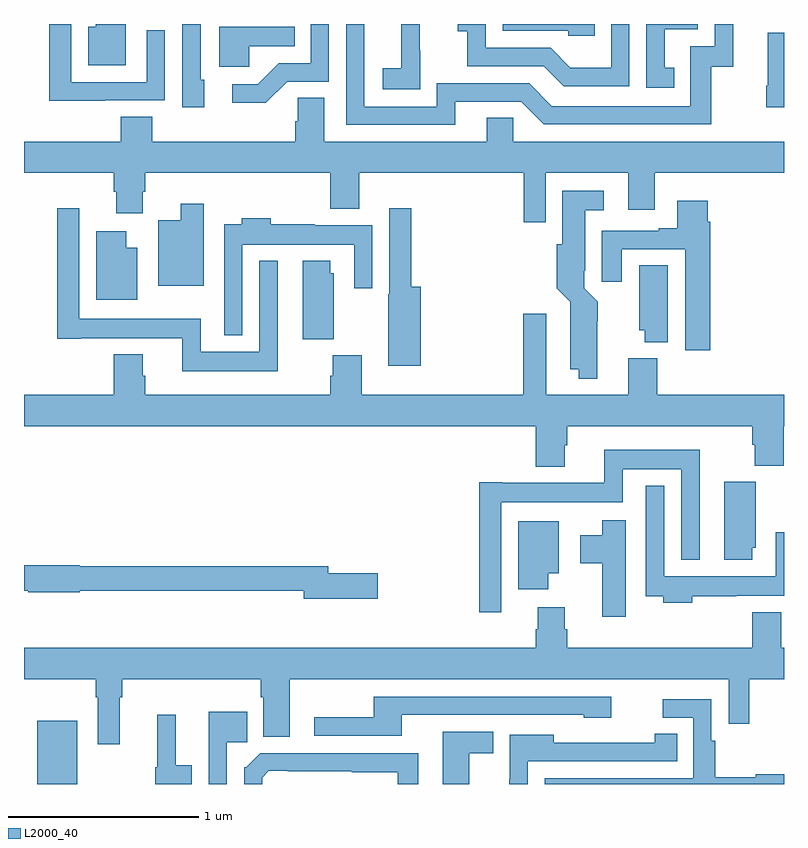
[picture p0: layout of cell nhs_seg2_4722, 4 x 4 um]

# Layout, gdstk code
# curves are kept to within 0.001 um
import gdstk
lib = gdstk.Library(unit=1e-6, precision=1e-09)
def R(c, l, rs):  # rectangles x0, y0, x1, y1
    for r in rs: c.add(gdstk.rectangle(r[:2], r[2:], *l))
def P(c, l, *ps):  # polygons
    for p in ps: c.add(gdstk.Polygon(p, *l))
L2000_40 = (2000, 40)

nhs_seg2_4722 = lib.new_cell('nhs_seg2_4722')
R(nhs_seg2_4722, L2000_40, [(369.071,597.8,369.28,598.132)])
P(nhs_seg2_4722, L2000_40, [(369.535,601.8),(369.377,601.8),(369.377,601.786),(369.338,601.786),(369.338,601.583),(369.535,601.583)],
  [(369.425,601.398),(369.741,601.398),(369.741,601.768),(369.645,601.768),(369.645,601.494),(369.249,601.494),(369.249,601.8),(369.133,601.8),(369.133,601.397),(369.425,601.397)],
  [(371.269,601.392),(371.616,601.392),(371.736,601.272),(372.616,601.272),(372.616,601.575),(372.734,601.575),(372.734,601.8),(372.636,601.8),(372.636,601.683),(372.507,601.683),(372.507,601.368),(371.778,601.368),(371.658,601.488),(371.172,601.488),(371.172,601.365),(370.791,601.365),(370.791,601.8),(370.695,601.8),(370.695,601.269),(371.269,601.269)],
  [(369.949,601.506),(369.93,601.506),(369.93,601.8),(369.834,601.8),(369.834,601.362),(369.949,601.362)],
  [(370.386,601.497),(370.605,601.497),(370.605,601.8),(370.509,601.8),(370.509,601.593),(370.34,601.593),(370.229,601.482),(370.095,601.482),(370.095,601.385),(370.273,601.385)],
  [(372.186,601.8),(372.09,601.8),(372.09,601.57),(371.876,601.57),(371.772,601.674),(371.43,601.674),(371.43,601.8),(371.283,601.8),(371.283,601.763),(371.332,601.763),(371.332,601.578),(371.735,601.578),(371.84,601.473),(372.186,601.473)],
  [(371.085,601.663),(371.084,601.663),(371.084,601.8),(370.986,601.8),(370.986,601.796),(370.985,601.796),(370.985,601.567),(370.887,601.567),(370.887,601.457),(371.085,601.457)],
  [(372.005,601.8),(371.52,601.8),(371.52,601.764),(371.865,601.764),(371.865,601.737),(372.005,601.737)],
  [(372.422,601.569),(372.373,601.569),(372.373,601.773),(372.546,601.773),(372.546,601.8),(372.276,601.8),(372.276,601.464),(372.422,601.464)],
  [(370.185,601.682),(370.424,601.682),(370.424,601.786),(370.028,601.786),(370.028,601.574),(370.185,601.574)],
  [(373,601.753),(372.914,601.753),(372.914,601.474),(372.907,601.474),(372.907,601.362),(373,601.362)],
  [(371.745,601.016),(372.179,601.016),(372.179,600.822),(372.319,600.822),(372.319,601.016),(373,601.016),(373,601.18),(371.574,601.18),(371.574,601.307),(371.435,601.307),(371.435,601.18),(370.579,601.18),(370.579,601.412),(370.44,601.412),(370.44,601.289),(370.427,601.289),(370.427,601.18),(369.674,601.18),(369.674,601.313),(369.509,601.313),(369.509,601.18),(369,601.18),(369,601.016),(369.473,601.016),(369.473,600.918),(369.485,600.918),(369.485,600.804),(369.625,600.804),(369.625,600.918),(369.638,600.918),(369.638,601.016),(370.613,601.016),(370.613,600.827),(370.765,600.827),(370.765,601.016),(371.629,601.016),(371.629,600.756),(371.745,600.756)],
  [(372.018,600.236),(372.019,600.338),(371.949,600.408),(371.949,600.502),(371.953,600.502),(371.953,600.821),(372.052,600.821),(372.052,600.922),(371.834,600.922),(371.834,600.642),(371.804,600.642),(371.804,600.41),(371.876,600.338),(371.876,599.984),(371.921,599.984),(371.921,599.933),(372.018,599.933)],
  [(372.611,600.758),(372.598,600.758),(372.598,600.871),(372.437,600.871),(372.437,600.724),(372.341,600.724),(372.341,600.711),(372.041,600.711),(372.041,600.444),(372.145,600.444),(372.145,600.615),(372.479,600.615),(372.479,600.084),(372.611,600.084)],
  [(369.946,600.853),(369.824,600.853),(369.824,600.766),(369.707,600.766),(369.707,600.422),(369.946,600.422)],
  [(371.087,600.418),(371.039,600.418),(371.039,600.829),(370.923,600.829),(370.923,600.378),(370.916,600.378),(370.916,600.002),(371.087,600.002)],
  [(370.336,600.553),(370.239,600.553),(370.239,600.076),(369.93,600.076),(369.93,600.25),(369.291,600.25),(369.291,600.829),(369.175,600.829),(369.175,600.144),(369.298,600.144),(369.298,600.146),(369.833,600.146),(369.833,599.972),(370.336,599.972)],
  [(370.149,600.638),(370.737,600.638),(370.737,600.408),(370.833,600.408),(370.833,600.742),(370.529,600.742),(370.529,600.745),(370.298,600.745),(370.298,600.778),(370.145,600.778),(370.145,600.745),(370.053,600.745),(370.053,600.161),(370.149,600.161)],
  [(369.595,600.622),(369.538,600.622),(369.538,600.709),(369.38,600.709),(369.38,600.35),(369.595,600.35)],
  [(370.63,600.489),(370.612,600.489),(370.612,600.553),(370.466,600.553),(370.466,600.142),(370.63,600.142)],
  [(372.388,600.53),(372.239,600.53),(372.239,600.189),(372.266,600.189),(372.266,600.125),(372.388,600.125)],
  [(371.845,599.583),(371.858,599.583),(371.858,599.684),(372.833,599.684),(372.833,599.585),(372.845,599.585),(372.845,599.476),(372.998,599.476),(372.998,599.684),(373,599.684),(373,599.848),(372.332,599.848),(372.332,600.04),(372.179,600.04),(372.179,599.848),(371.749,599.848),(371.749,600.274),(371.627,600.274),(371.627,599.848),(370.778,599.848),(370.778,600.057),(370.625,600.057),(370.625,599.948),(370.613,599.948),(370.613,599.848),(369.638,599.848),(369.638,599.949),(369.625,599.949),(369.625,600.061),(369.473,600.061),(369.473,599.848),(369,599.848),(369,599.684),(371.693,599.684),(371.693,599.471),(371.845,599.471)],
  [(371.511,599.282),(372.15,599.282),(372.15,599.456),(372.459,599.456),(372.459,598.979),(372.556,598.979),(372.556,599.56),(372.053,599.56),(372.053,599.386),(371.518,599.386),(371.518,599.389),(371.395,599.389),(371.395,598.704),(371.511,598.704)],
  [(372.832,599.043),(372.85,599.043),(372.85,599.391),(372.686,599.391),(372.686,598.98),(372.832,598.98)],
  [(372.518,598.788),(372.749,598.788),(372.749,598.79),(373,598.79),(373,599.125),(372.957,599.125),(372.957,598.894),(372.369,598.894),(372.369,599.371),(372.273,599.371),(372.273,598.788),(372.365,598.788),(372.365,598.754),(372.518,598.754)],
  [(372.166,599.188),(372.044,599.188),(372.044,599.11),(371.927,599.11),(371.927,598.963),(372.044,598.963),(372.044,598.68),(372.166,598.68)],
  [(371.758,598.91),(371.815,598.91),(371.815,599.182),(371.6,599.182),(371.6,598.824),(371.758,598.824)],
  [(370.861,598.91),(370.6,598.91),(370.6,598.946),(369.294,598.946),(369.294,598.952),(369,598.952),(369,598.817),(369.022,598.817),(369.022,598.81),(369.294,598.81),(369.294,598.818),(370.472,598.818),(370.472,598.775),(370.861,598.775)],
  [(369.505,598.256),(369.518,598.256),(369.518,598.352),(370.247,598.352),(370.247,598.256),(370.259,598.256),(370.259,598.048),(370.399,598.048),(370.399,598.352),(372.708,598.352),(372.708,598.116),(372.817,598.116),(372.817,598.352),(373,598.352),(373,598.516),(372.985,598.516),(372.985,598.705),(372.833,598.705),(372.833,598.516),(371.858,598.516),(371.858,598.614),(371.845,598.614),(371.845,598.729),(371.705,598.729),(371.705,598.614),(371.693,598.614),(371.693,598.516),(369,598.516),(369,598.352),(369.377,598.352),(369.377,598.256),(369.389,598.256),(369.389,598.008),(369.505,598.008)],
  [(370.987,598.164),(371.946,598.164),(371.946,598.148),(372.091,598.148),(372.091,598.26),(370.84,598.26),(370.84,598.151),(370.527,598.151),(370.527,598.053),(370.987,598.053)],
  [(373,597.851),(372.852,597.851),(372.852,597.836),(372.638,597.836),(372.638,598.028),(372.618,598.028),(372.618,598.245),(372.363,598.245),(372.363,598.149),(372.522,598.149),(372.522,597.831),(371.742,597.831),(371.742,597.8),(373,597.8)],
  [(370.068,598.02),(370.174,598.02),(370.174,598.18),(369.972,598.18),(369.972,597.8),(370.068,597.8)],
  [(369.883,597.9),(369.799,597.9),(369.799,598.165),(369.701,598.165),(369.701,597.888),(369.69,597.888),(369.69,597.8),(369.883,597.8)],
  [(371.344,597.961),(371.471,597.961),(371.471,598.075),(371.204,598.075),(371.204,597.8),(371.344,597.8)],
  [(371.652,597.921),(372.437,597.921),(372.437,598.064),(372.319,598.064),(372.319,598.018),(371.788,598.018),(371.788,598.06),(371.556,598.06),(371.556,597.824),(371.555,597.824),(371.555,597.8),(371.652,597.8)],
  [(370.253,597.834),(370.288,597.87),(370.387,597.87),(370.387,597.867),(370.726,597.867),(370.726,597.862),(370.968,597.862),(370.968,597.8),(371.076,597.8),(371.076,597.963),(370.244,597.963),(370.169,597.888),(370.158,597.888),(370.158,597.8),(370.253,597.8)])

lib.write_gds('nhs_seg2_4722.gds')
